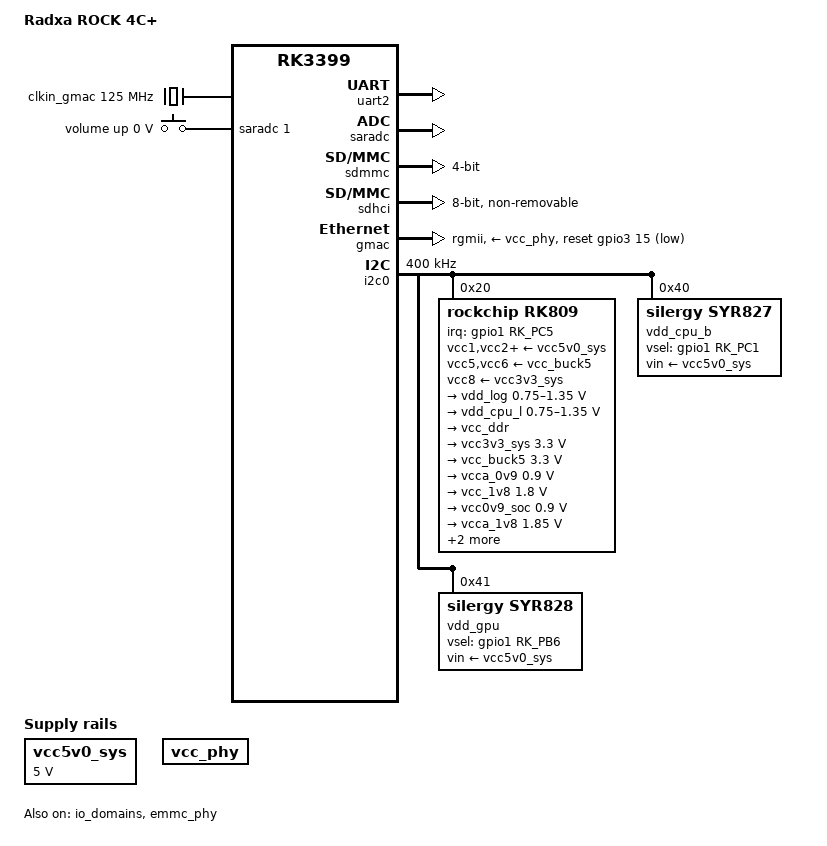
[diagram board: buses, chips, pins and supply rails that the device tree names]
/*
 * (C) Copyright 2016 Rockchip Electronics Co., Ltd
 * (C) Copyright 2021 Radxa Limited
 *
 * SPDX-License-Identifier:     GPL-2.0+
 */

/dts-v1/;
#include <dt-bindings/pwm/pwm.h>
#include <dt-bindings/pinctrl/rockchip.h>
#include "rk3399.dtsi"
#include "rk3399-sdram-lpddr3-4GB-1600.dtsi"
#include "rk3399-u-boot.dtsi"
#include <linux/media-bus-format.h>
#include <dt-bindings/input/input.h>
#include "rockchip-pinconf.dtsi"

/ {
	model = "Radxa ROCK 4C+";
	compatible = "radxa,rock-4c-plus", "rockchip,rk3399";

	vcc5v0_sys: vcc5v0-sys {
		compatible = "regulator-fixed";
		regulator-name = "vcc5v0_sys";
		regulator-always-on;
		regulator-boot-on;
		regulator-min-microvolt = <5000000>;
		regulator-max-microvolt = <5000000>;
	};

	vcc_phy: vcc-phy-regulator {
		compatible = "regulator-fixed";
		regulator-name = "vcc_phy";
		regulator-always-on;
		regulator-boot-on;
	};

	clkin_gmac: external-gmac-clock {
		compatible = "fixed-clock";
		clock-frequency = <125000000>;
		clock-output-names = "clkin_gmac";
		#clock-cells = <0>;
	};

	adc-keys {
		compatible = "adc-keys";
		io-channels = <&saradc 1>;
		io-channel-names = "buttons";
		keyup-threshold-microvolt = <1800000>;
		u-boot,dm-spl;
		status = "okay";

		volumeup-key {
			u-boot,dm-spl;
			linux,code = <KEY_VOLUMEUP>;
			label = "volume up";
			press-threshold-microvolt = <9>;
		};
	};
};

&io_domains {
	status = "okay";
	bt656-supply = <&vcc_3v0>; /* bt656_gpio2ab_ms */
	audio-supply = <&vcca_1v8>; /* audio_gpio3d4a_ms */
	sdmmc-supply = <&vccio_sd>; /* sdmmc_gpio4b_ms */
	gpio1830-supply = <&vcc_3v0>; /* gpio1833_gpio4cd_ms */
};

&pmu_io_domains {
	status = "okay";
	pmu1830-supply = <&vcc_3v0>;
};

&uart2 {
	status = "okay";
};

&saradc {
	status = "okay";
};

&sdmmc {
	bus-width = <4>;
	status = "okay";
};

&emmc_phy {
	status = "okay";
};

&sdhci {
	bus-width = <8>;
	mmc-hs400-1_8v;
	mmc-hs400-enhanced-strobe;
	non-removable;
	status = "okay";
};

&gmac {
	phy-supply = <&vcc_phy>;
	phy-mode = "rgmii";
	clock_in_out = "input";
	snps,reset-gpio = <&gpio3 15 GPIO_ACTIVE_LOW>;
	snps,reset-active-low;
	/* Reset time is 20ms, 100ms for rtl8211f */
	snps,reset-delays-us = <0 20000 100000>;
	assigned-clocks = <&cru SCLK_RMII_SRC>;
	assigned-clock-parents = <&clkin_gmac>;
	pinctrl-names = "default", "sleep";
	pinctrl-0 = <&rgmii_pins>;
	pinctrl-1 = <&rgmii_sleep_pins>;
	tx_delay = <0x28>;
	rx_delay = <0x11>;
	status = "okay";
};

&i2c0 {
	status = "okay";
	i2c-scl-rising-time-ns = <180>;
	i2c-scl-falling-time-ns = <30>;
	clock-frequency = <400000>;

	rk809: pmic@20 {
		compatible = "rockchip,rk809";
		reg = <0x20>;

		interrupt-parent = <&gpio1>;
		interrupts = <RK_PC5 IRQ_TYPE_LEVEL_LOW>;
		pinctrl-names = "default", "pmic-sleep",
				"pmic-power-off", "pmic-reset";
		pinctrl-0 = <&pmic_int_l>;
		pinctrl-1 = <&soc_slppin_slp>, <&rk809_slppin_slp>;
		pinctrl-2 = <&soc_slppin_gpio>, <&rk809_slppin_pwrdn>;
		pinctrl-3 = <&soc_slppin_gpio>, <&rk809_slppin_null>;
		rockchip,system-power-controller;
		pmic-reset-func = <0>;
		wakeup-source;
		#clock-cells = <1>;
		clock-output-names = "rk808-clkout1", "rk808-clkout2";

		vcc1-supply = <&vcc5v0_sys>;
		vcc2-supply = <&vcc5v0_sys>;
		vcc3-supply = <&vcc5v0_sys>;
		vcc4-supply = <&vcc5v0_sys>;
		vcc5-supply = <&vcc_buck5>;
		vcc6-supply = <&vcc_buck5>;
		vcc7-supply = <&vcc5v0_sys>;
		vcc8-supply = <&vcc3v3_sys>;
		vcc9-supply = <&vcc5v0_sys>;

		pwrkey {
			status = "okay";
		};

		rk809_rtc: rtc {
			status = "okay";
		};

		pinctrl_rk8xx: pinctrl_rk8xx {
			gpio-controller;
			#gpio-cells = <2>;

			rk809_slppin_null: rk809_slppin_null {
				pins = "gpio_slp";
				function = "pin_fun0";
			};

			rk809_slppin_slp: rk809_slppin_slp {
				pins = "gpio_slp";
				function = "pin_fun1";
			};

			rk809_slppin_pwrdn: rk809_slppin_pwrdn {
				pins = "gpio_slp";
				function = "pin_fun2";
			};

			rk809_slppin_rst: rk809_slppin_rst {
				pins = "gpio_slp";
				function = "pin_fun3";
			};
		};

		regulators {
			vdd_log: DCDC_REG1 {
				regulator-always-on;
				regulator-boot-on;
				regulator-min-microvolt = <750000>;
				regulator-max-microvolt = <1350000>;
				regulator-initial-mode = <0x2>;
				regulator-name = "vdd_log";
				regulator-state-mem {
					regulator-off-in-suspend;
					regulator-suspend-microvolt = <900000>;
				};
			};

			vdd_cpu_l: DCDC_REG2 {
				regulator-always-on;
				regulator-boot-on;
				regulator-min-microvolt = <750000>;
				regulator-max-microvolt = <1350000>;
				regulator-ramp-delay = <6001>;
				regulator-initial-mode = <0x2>;
				regulator-name = "vdd_cpu_l";
				regulator-state-mem {
					regulator-off-in-suspend;
				};
			};

			vcc_ddr: DCDC_REG3 {
				regulator-always-on;
				regulator-boot-on;
				regulator-name = "vcc_ddr";
				regulator-initial-mode = <0x2>;
				regulator-state-mem {
					regulator-on-in-suspend;
				};
			};

			vcc3v3_sys: DCDC_REG4 {
				regulator-always-on;
				regulator-boot-on;
				regulator-min-microvolt = <3300000>;
				regulator-max-microvolt = <3300000>;
				regulator-initial-mode = <0x2>;
				regulator-name = "vcc3v3_sys";
				regulator-state-mem {
					regulator-on-in-suspend;
					regulator-suspend-microvolt = <3300000>;
				};
			};

			vcc_buck5: DCDC_REG5 {
				regulator-always-on;
				regulator-boot-on;
				regulator-min-microvolt = <3300000>;
				regulator-max-microvolt = <3300000>;
				regulator-name = "vcc_buck5";
				regulator-state-mem {
					regulator-on-in-suspend;
					regulator-suspend-microvolt = <3300000>;
				};
			};

			vcca_0v9: LDO_REG1 {
				regulator-always-on;
				regulator-boot-on;
				regulator-min-microvolt = <900000>;
				regulator-max-microvolt = <900000>;
				regulator-name = "vcca_0v9";
				regulator-state-mem {
					regulator-off-in-suspend;
				};
			};

			vcc_1v8: LDO_REG2 {
				regulator-always-on;
				regulator-boot-on;
				regulator-min-microvolt = <1800000>;
				regulator-max-microvolt = <1800000>;

				regulator-name = "vcc_1v8";
				regulator-state-mem {
					regulator-on-in-suspend;
					regulator-suspend-microvolt = <1800000>;
				};
			};

			vcc0v9_soc: LDO_REG3 {
				regulator-always-on;
				regulator-boot-on;
				regulator-min-microvolt = <900000>;
				regulator-max-microvolt = <900000>;

				regulator-name = "vcc0v9_soc";
				regulator-state-mem {
					regulator-on-in-suspend;
					regulator-suspend-microvolt = <900000>;
				};
			};

			vcca_1v8: LDO_REG4 {
				regulator-always-on;
				regulator-boot-on;
				regulator-min-microvolt = <1850000>;
				regulator-max-microvolt = <1850000>;

				regulator-name = "vcca_1v8";
				regulator-state-mem {
					regulator-off-in-suspend;
				};
			};

			vcc_mipi: LDO_REG5 {
				regulator-always-on;
				regulator-boot-on;
				regulator-min-microvolt = <1500000>;
				regulator-max-microvolt = <1500000>;

				regulator-name = "vcc_mipi";
				regulator-state-mem {
					regulator-off-in-suspend;
				};
			};

			vcc_1v5: LDO_REG6 {
				regulator-always-on;
				regulator-boot-on;
				regulator-min-microvolt = <1500000>;
				regulator-max-microvolt = <1500000>;

				regulator-name = "vcc_1v5";
				regulator-state-mem {
					regulator-off-in-suspend;
				};
			};

			vcc_3v0: LDO_REG7 {
				regulator-always-on;
				regulator-boot-on;
				regulator-min-microvolt = <3000000>;
				regulator-max-microvolt = <3000000>;

				regulator-name = "vcc_3v0";
				regulator-state-mem {
					regulator-off-in-suspend;
				};
			};

			vccio_sd: LDO_REG8 {
				regulator-always-on;
				regulator-boot-on;
				regulator-min-microvolt = <1800000>;
				regulator-max-microvolt = <3300000>;

				regulator-name = "vccio_sd";
				regulator-state-mem {
					regulator-off-in-suspend;
				};
			};

			vcc_cam: LDO_REG9 {
				regulator-always-on;
				regulator-boot-on;
				regulator-min-microvolt = <3300000>;
				regulator-max-microvolt = <3300000>;

				regulator-name = "vcc_cam";
				regulator-state-mem {
					regulator-off-in-suspend;
				};
			};

			vcc5v0_usb2: SWITCH_REG1 {
				regulator-min-microvolt = <5000000>;
				regulator-max-microvolt = <5000000>;

				regulator-name = "vcc5v0_usb2.0";
				regulator-state-mem {
					regulator-on-in-suspend;
					regulator-suspend-microvolt = <5000000>;
				};
			};

			lcd_3v3: SWITCH_REG2 {
				regulator-always-on;
				regulator-boot-on;
				regulator-min-microvolt = <3300000>;
				regulator-max-microvolt = <3300000>;

				regulator-name = "lcd_3v3";
				regulator-state-mem {
					regulator-off-in-suspend;
				};
			};
		};
	};

	vdd_cpu_b: syr827@40 {
		compatible = "silergy,syr827";
		reg = <0x40>;
		regulator-compatible = "fan53555-reg";
		pinctrl-0 = <&vsel1_gpio>;
		vsel-gpios = <&gpio1 RK_PC1 GPIO_ACTIVE_HIGH>;
		regulator-name = "vdd_cpu_b";
		regulator-min-microvolt = <712500>;
		regulator-max-microvolt = <1500000>;
		regulator-ramp-delay = <1000>;
		fcs,suspend-voltage-selector = <1>;
		regulator-always-on;
		regulator-boot-on;
		vin-supply = <&vcc5v0_sys>;
		regulator-state-mem {
			regulator-off-in-suspend;
		};
	};

	vdd_gpu: syr828@41 {
		compatible = "silergy,syr828";
		reg = <0x41>;
		regulator-compatible = "fan53555-reg";
		pinctrl-0 = <&vsel2_gpio>;
		vsel-gpios = <&gpio1 RK_PB6 GPIO_ACTIVE_HIGH>;
		regulator-name = "vdd_gpu";
		regulator-min-microvolt = <712500>;
		regulator-max-microvolt = <1500000>;
		regulator-ramp-delay = <1000>;
		fcs,suspend-voltage-selector = <1>;
		regulator-always-on;
		regulator-boot-on;
		vin-supply = <&vcc5v0_sys>;
		regulator-initial-mode = <1>; /* 1:force PWM 2:auto */
		regulator-state-mem {
			regulator-off-in-suspend;
		};
	};
};

&pinctrl {

	pmic {
		pmic_int_l: pmic-int-l {
			rockchip,pins =
				<1 RK_PC5 0 &pcfg_pull_up>;
		};

		vsel1_gpio: vsel1-gpio {
			rockchip,pins =
				<1 RK_PC1 0 &pcfg_pull_down>;
		};

		vsel2_gpio: vsel2-gpio {
			rockchip,pins =
				<1 RK_PB6 0 &pcfg_pull_down>;
		};

		soc_slppin_gpio: soc-slppin-gpio {
			rockchip,pins =
				<1 RK_PA5 0 &pcfg_output_low>;
		};

		soc_slppin_slp: soc-slppin-slp {
			rockchip,pins =
				<1 RK_PA5 1 &pcfg_pull_down>;
		};

		soc_slppin_rst: soc-slppin-rst {
			rockchip,pins =
				<1 RK_PA5 2 &pcfg_pull_none>;
		};
	};

	gmac {
		rgmii_sleep_pins: rgmii-sleep-pins {
			rockchip,pins =
				<3 15 RK_FUNC_GPIO &pcfg_output_low>;
		};
	};
};
